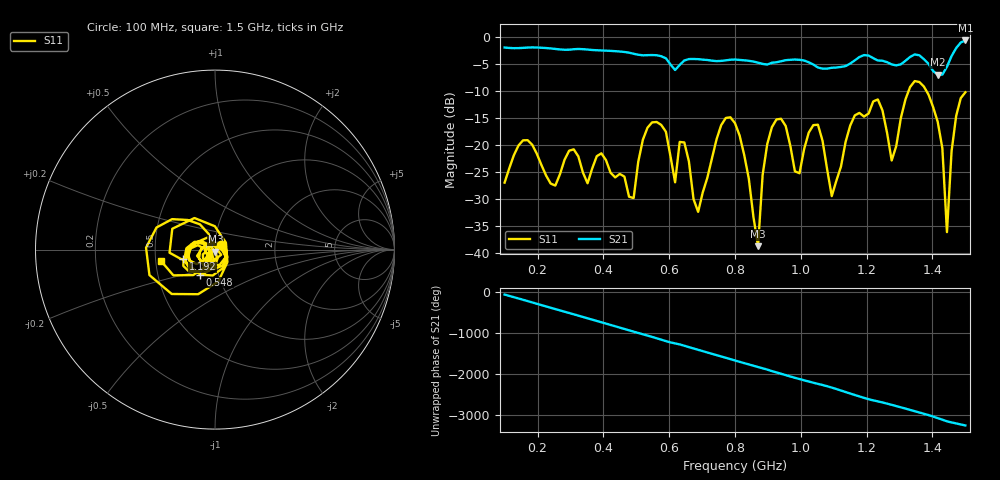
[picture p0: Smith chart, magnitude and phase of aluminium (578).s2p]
! NanoVNA-App
! Date: 2025-09-25 14:59:47
! Start: 100MHz Stop: 1,5GHz Points: 101
! S-Parameter data: F S11 S21 S12 S22
# Hz S RI R 50
!  Frequency  S11_Real  S11_Imag  S21_Real  S21_Imag  S12_Real  S12_Imag  S22_Real  S22_Imag
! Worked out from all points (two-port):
!   101 points, 100 MHz to 1.5 GHz, reference 50 ohm
!   highest |S21| = -0.60 dB at 1.5 GHz (marker M1); lowest = -6.9 dB at 1.416 GHz (marker M2)
!   |S21| within 3 dB of the highest: start of sweep to 578.6 MHz; 1.457 GHz to end of sweep (the widest 2 of 4)
!   lowest |S11| = -38.7 dB at 870 MHz (marker M3), VSWR 1.02, Z = 50.2 - j1.14 ohm
!   |S11| at or under -10 dB: start of sweep to 1.327 GHz; 1.382 GHz to end of sweep
!   S12 and S22 are empty: the file has one direction only
!   S11 on the Smith chart (normalised r, x): 100 MHz: 1.07, +0.06; 548 MHz: 0.82, -0.23; 1.192 GHz: 0.70, -0.08; 1.5 GHz: 0.53, -0.07
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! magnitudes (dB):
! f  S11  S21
! 100 MHz  -27.0  -1.9
! 156 MHz  -19.1  -2.0
! 338 MHz  -25.1  -2.2
! 492 MHz  -29.8  -3.1
! 548 MHz  -15.8  -3.3
! 576 MHz  -16.3  -3.5
! 646 MHz  -19.5  -4.3
! 688 MHz  -32.4  -4.1
! 800 MHz  -15.9  -4.1
! 870 MHz  -38.7  -4.7
! 912 MHz  -16.7  -4.7
! 996 MHz  -25.2  -4.2
! 1.038 GHz  -16.3  -5.1
! 1.094 GHz  -29.5  -5.7
! 1.192 GHz  -14.7  -3.3
! 1.234 GHz  -11.5  -4.3
! 1.276 GHz  -22.9  -5.0
! 1.346 GHz  -8.1  -3.2
! 1.416 GHz  -15.7  -6.9
! 1.444 GHz  -36.1  -5.5
! 1.472 GHz  -14.6  -2.0
! 1.5 GHz  -10.2  -0.6
